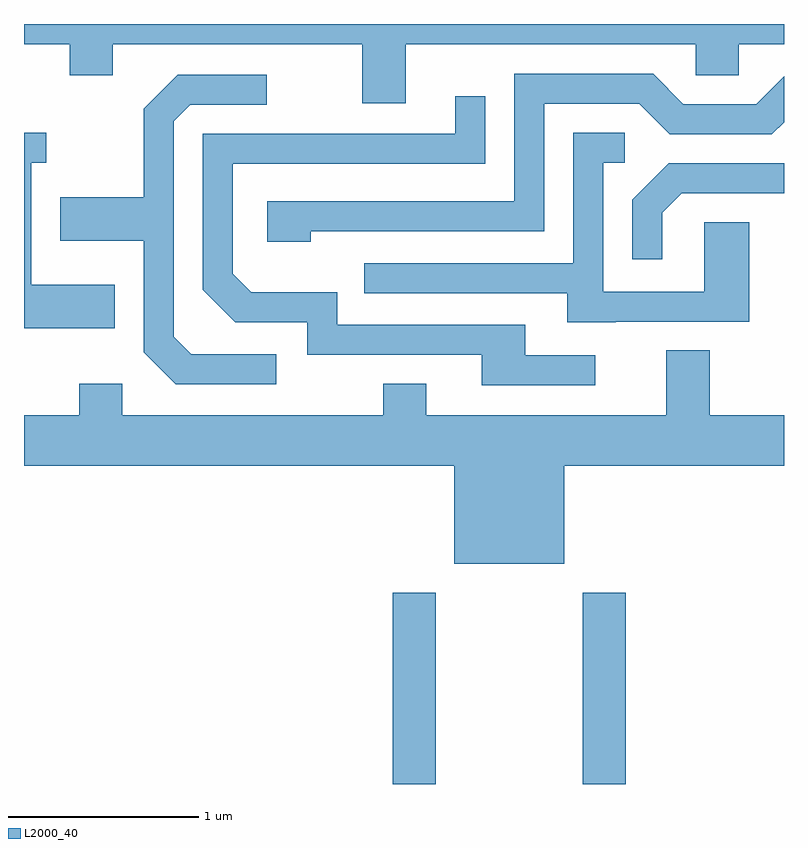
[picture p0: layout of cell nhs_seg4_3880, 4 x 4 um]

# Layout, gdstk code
import gdstk
lib = gdstk.Library(unit=1e-6, precision=1e-09)
def R(c, l, rs):  # rectangles x0, y0, x1, y1
    for r in rs: c.add(gdstk.rectangle(r[:2], r[2:], *l))
def P(c, l, *ps):  # polygons
    for p in ps: c.add(gdstk.Polygon(p, *l))
L2000_40 = (2000, 40)

nhs_seg4_3880 = lib.new_cell('nhs_seg4_3880')
R(nhs_seg4_3880, L2000_40, [(301.551,1261.982,301.779,1262.989), (302.551,1261.982,302.779,1262.989)])
P(nhs_seg4_3880, L2000_40, [(301.619,1265.876),(303.146,1265.876),(303.146,1265.711),(303.374,1265.711),(303.374,1265.876),(303.611,1265.876),(303.611,1265.982),(299.611,1265.982),(299.611,1265.876),(299.851,1265.876),(299.851,1265.711),(300.079,1265.711),(300.079,1265.876),(301.391,1265.876),(301.391,1265.566),(301.619,1265.566)],
  [(301.119,1264.891),(302.349,1264.891),(302.349,1265.561),(302.849,1265.561),(303.009,1265.401),(303.547,1265.401),(303.611,1265.465),(303.611,1265.706),(303.464,1265.559),(303.082,1265.559),(302.922,1265.719),(302.191,1265.719),(302.191,1265.049),(300.891,1265.049),(300.891,1264.836),(301.119,1264.836)],
  [(300.938,1264.244),(300.492,1264.244),(300.399,1264.337),(300.399,1265.469),(300.487,1265.556),(300.888,1265.556),(300.888,1265.714),(300.419,1265.714),(300.241,1265.537),(300.241,1265.069),(299.801,1265.069),(299.801,1264.841),(300.241,1264.841),(300.241,1264.254),(300.409,1264.086),(300.938,1264.086)],
  [(302.618,1264.239),(302.249,1264.239),(302.249,1264.399),(301.259,1264.399),(301.259,1264.569),(300.807,1264.569),(300.709,1264.667),(300.709,1265.246),(302.039,1265.246),(302.039,1265.603),(301.881,1265.603),(301.881,1265.404),(300.551,1265.404),(300.551,1264.584),(300.724,1264.411),(301.101,1264.411),(301.101,1264.241),(302.021,1264.241),(302.021,1264.081),(302.618,1264.081)],
  [(302.725,1264.416),(303.429,1264.416),(303.429,1264.939),(303.191,1264.939),(303.191,1264.574),(302.659,1264.574),(302.659,1265.251),(302.773,1265.251),(302.773,1265.409),(302.501,1265.409),(302.501,1264.724),(301.403,1264.724),(301.403,1264.566),(302.471,1264.566),(302.471,1264.411),(302.725,1264.411)],
  [(300.089,1264.609),(299.649,1264.609),(299.649,1265.251),(299.728,1265.251),(299.728,1265.409),(299.611,1265.409),(299.611,1264.381),(300.089,1264.381)],
  [(302.969,1264.989),(303.072,1265.091),(303.611,1265.091),(303.611,1265.249),(303.004,1265.249),(302.811,1265.057),(302.811,1264.743),(302.969,1264.743)],
  [(302.454,1263.656),(303.611,1263.656),(303.611,1263.924),(303.219,1263.924),(303.219,1264.264),(302.991,1264.264),(302.991,1263.924),(301.729,1263.924),(301.729,1264.089),(301.501,1264.089),(301.501,1263.924),(300.129,1263.924),(300.129,1264.089),(299.901,1264.089),(299.901,1263.924),(299.611,1263.924),(299.611,1263.656),(301.876,1263.656),(301.876,1263.141),(302.454,1263.141)])

lib.write_gds('nhs_seg4_3880.gds')
